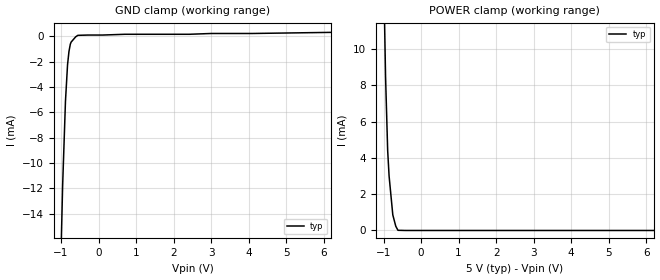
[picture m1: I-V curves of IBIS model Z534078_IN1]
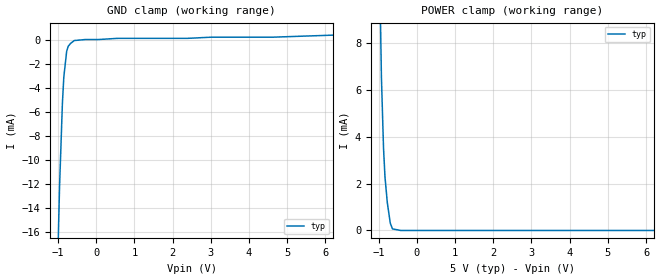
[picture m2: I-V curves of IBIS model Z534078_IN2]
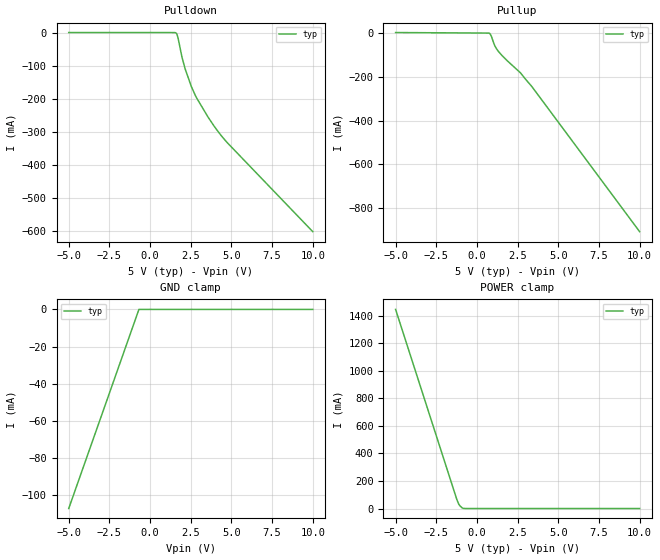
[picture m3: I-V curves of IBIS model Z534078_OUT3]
| YOU ARE ONLY AUTHORIZED TO USE THIS SOFTWARE
| ACCORDING TO LICENSOR'S LICENSE RESTRICTIONS.
[IBIS Ver] 3.1
[File Name] mc100lvel17dw_5_0.ibs
[File Rev] 2.0
[Source] Measured and created by ICX Technology
[Date] Friday 7/14/00 9:08:21 AM
[Copyright]
| (C) COPYRIGHT 1993-2000
| MENTOR GRAPHICS CORPORATION
| ICX STANDARD LIBRARY, ICX PROJECT MODELING,
| ICX CUSTOM MODELING, ICX VENDOR MODEL
| ALL RIGHTS RESERVED.
| THE FOLLOWING ARE TRADEMARKS OR SERVICE MARKS OF
| MENTOR GRAPHICS CORPORATION:ICX (R), ICX STANDARD
| LIBRARY(R), ICX PROJECT MODELING(R), ICX CUSTOM
| MODELING(R), qualityIBIS(TM), MODELVIEWER(TM),
| AND MODELEDITOR(TM)
| ALL COPIES OF SOFTWARE, INCLUDING BUT NOT LIMITED TO
| ANY MODIFICATIONS, ENHANCEMENTS OR DERIVATIVE WORKS,
| MUST CONTAIN ALL MENTOR GRAPHICS CORPORATION'S
| NOTICES AND LEGENDS, INCLUDING THOSE EMBEDDED IN
| SOFTWARE AND THOSE AFFIXED TO SOFTWARE MEDIUM
| AND CONTAINER, AS RECEIVED FROM MENTOR GRAPHICS
| CORPORATION.
|  ZAP Model Builder 2.7
[Component] MC100LVEL17DW_5_0
[Manufacturer] OnSemiconductor
[Package]
| variable   typ   min   max
R_pkg  .178ohms NA NA
L_pkg  4.43nH NA NA
C_pkg  .62pF NA NA
[Pin] signal_name  model_name  R_pin  L_pin C_pin
1 VCC POWER .186 5.37n .68p
2 D0 Z534078_IN1 .182 4.89n .65p
3 _D0 Z534078_IN2 .178 4.42n .62p
4 D1 Z534078_IN1 .174 3.96n .59p
5 _D1 Z534078_IN2 .17 3.51n .56p
6 D2 Z534078_IN1 .17 3.51n .56p
7 _D2 Z534078_IN2 .174 3.96n .59p
8 D3 Z534078_IN1 .178 4.42n .62p
9 _D3 Z534078_IN2 .182 4.89n .65p
10 VBB NC .186 5.37n .68p
11 VEE POWER .186 5.37n .68p
12 _Q3 Z534078_OUT3 .182 4.89n .65p
13 Q3 Z534078_OUT3 .178 4.42n .62p
14 _Q2 Z534078_OUT3 .174 3.96n .59p
15 Q2 Z534078_OUT3 .17 3.51n .56p
16 _Q1 Z534078_OUT3 .17 3.51n .56p
17 Q1 Z534078_OUT3 .174 3.96n .59p
18 _Q0 Z534078_OUT3 .178 4.42n .62p
19 Q0 Z534078_OUT3 .182 4.89n .65p
20 VCC POWER .186 5.37n .68p
| Models and submodels in the file (3): Z534078_IN1 (Input_ECL), Z534078_IN2 (Input_ECL), Z534078_OUT3 (Output_ECL)
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| (C) COPYRIGHT 1993-2000
| MENTOR GRAPHICS CORPORATION
| ICX STANDARD LIBRARY, ICX PROJECT MODELING,
| ICX CUSTOM MODELING, ICX VENDOR MODEL
| ALL RIGHTS RESERVED.
| THE FOLLOWING ARE TRADEMARKS OR SERVICE MARKS OF
| MENTOR GRAPHICS CORPORATION:ICX (R), ICX STANDARD
| LIBRARY(R), ICX PROJECT MODELING(R), ICX CUSTOM
| MODELING(R), qualityIBIS(TM), MODELVIEWER(TM),
| AND MODELEDITOR(TM)
| ALL COPIES OF SOFTWARE, INCLUDING BUT NOT LIMITED TO
| ANY MODIFICATIONS, ENHANCEMENTS OR DERIVATIVE WORKS,
| MUST CONTAIN ALL MENTOR GRAPHICS CORPORATION'S
| NOTICES AND LEGENDS, INCLUDING THOSE EMBEDDED IN
| SOFTWARE AND THOSE AFFIXED TO SOFTWARE MEDIUM
| AND CONTAINER, AS RECEIVED FROM MENTOR GRAPHICS
| CORPORATION.
| Model Application Version 1.89 2/18/99.
[Model] Z534078_IN1
Model_type Input_ECL
Vinl = 3.525V
Vinh = 3.835V
C_comp 4.000pF NA NA
| variable typ   min   max
[Voltage Range] 5.000V NA NA
[GND Clamp Reference] 0.000V NA NA
[POWER Clamp Reference] 5.000V NA NA
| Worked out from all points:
|   GND clamp passes 1 mA (typ) near -0.78 V on its own axis
|   POWER clamp passes 1 mA (typ) near -0.76 V on its own axis
[GND Clamp]
-5V       -857.4mA   NA         NA
-1.027V   -20.46mA   NA         NA
-957.7mV  -11.8mA    NA         NA
-881.9mV  -5.116mA   NA         NA
-826.2mV  -2.218mA   NA         NA
-787.8mV  -1.167mA   NA         NA
-751.8mV  -602.6uA   NA         NA
-731.4mV  -445.3uA   NA         NA
-609.3mV  -27.29uA   NA         NA
-551.5mV  89.6uA     NA         NA
10V       482.7uA    NA         NA
[POWER Clamp]
-5V       1.435A     NA         NA
-1.153V   40.97mA    NA         NA
-1.058V   21.14mA    NA         NA
-946mV    8.467mA    NA         NA
-890mV    4.412mA    NA         NA
-852mV    2.998mA    NA         NA
-753mV    857.2uA    NA         NA
-674mV    235.3uA    NA         NA
-616mV    10.41uA    NA         NA
-410.7mV  0A         NA         NA
10V       0A         NA         NA
| (C) COPYRIGHT 1993-2000
| MENTOR GRAPHICS CORPORATION
| ICX STANDARD LIBRARY, ICX PROJECT MODELING,
| ICX CUSTOM MODELING, ICX VENDOR MODEL
| ALL RIGHTS RESERVED.
| THE FOLLOWING ARE TRADEMARKS OR SERVICE MARKS OF
| MENTOR GRAPHICS CORPORATION:ICX (R), ICX STANDARD
| LIBRARY(R), ICX PROJECT MODELING(R), ICX CUSTOM
| MODELING(R), qualityIBIS(TM), MODELVIEWER(TM),
| AND MODELEDITOR(TM)
| ALL COPIES OF SOFTWARE, INCLUDING BUT NOT LIMITED TO
| ANY MODIFICATIONS, ENHANCEMENTS OR DERIVATIVE WORKS,
| MUST CONTAIN ALL MENTOR GRAPHICS CORPORATION'S
| NOTICES AND LEGENDS, INCLUDING THOSE EMBEDDED IN
| SOFTWARE AND THOSE AFFIXED TO SOFTWARE MEDIUM
| AND CONTAINER, AS RECEIVED FROM MENTOR GRAPHICS
| CORPORATION.
| Model Application Version 1.89 2/18/99.
[Model] Z534078_IN2
Model_type Input_ECL
Vinl = 3.525V
Vinh = 3.835V
C_comp 4.000pF NA NA
| variable typ   min   max
[Voltage Range] 5.000V NA NA
[GND Clamp Reference] 0.000V NA NA
[POWER Clamp Reference] 5.000V NA NA
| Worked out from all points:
|   GND clamp passes 1 mA (typ) near -0.77 V on its own axis
|   POWER clamp passes 1 mA (typ) near -0.75 V on its own axis
[GND Clamp]
-5V       -916.1mA   NA         NA
-1.026V   -21.18mA   NA         NA
-957.3mV  -12.24mA   NA         NA
-882.7mV  -5.302mA   NA         NA
-846.1mV  -3.119mA   NA         NA
-771.3mV  -963uA     NA         NA
-730.3mV  -545.6uA   NA         NA
-668.2mV  -304uA     NA         NA
-571.7mV  -66.54uA   NA         NA
567mV     114.8uA    NA         NA
4.601V    209.9uA    NA         NA
10V       791.1uA    NA         NA
[POWER Clamp]
-5V       1.675A     NA         NA
-1.171V   59.63mA    NA         NA
-1.082V   30.48mA    NA         NA
-1.001V   14.15mA    NA         NA
-925mV    6.577mA    NA         NA
-870mV    3.527mA    NA         NA
-832mV    2.3mA      NA         NA
-770mV    1.182mA    NA         NA
-693mV    310.7uA    NA         NA
-635mV    67.77uA    NA         NA
-423.3mV  0A         NA         NA
10V       0A         NA         NA
| (C) COPYRIGHT 1993-2000
| MENTOR GRAPHICS CORPORATION
| ICX STANDARD LIBRARY, ICX PROJECT MODELING,
| ICX CUSTOM MODELING, ICX VENDOR MODEL
| ALL RIGHTS RESERVED.
| THE FOLLOWING ARE TRADEMARKS OR SERVICE MARKS OF
| MENTOR GRAPHICS CORPORATION:ICX (R), ICX STANDARD
| LIBRARY(R), ICX PROJECT MODELING(R), ICX CUSTOM
| MODELING(R), qualityIBIS(TM), MODELVIEWER(TM),
| AND MODELEDITOR(TM)
| ALL COPIES OF SOFTWARE, INCLUDING BUT NOT LIMITED TO
| ANY MODIFICATIONS, ENHANCEMENTS OR DERIVATIVE WORKS,
| MUST CONTAIN ALL MENTOR GRAPHICS CORPORATION'S
| NOTICES AND LEGENDS, INCLUDING THOSE EMBEDDED IN
| SOFTWARE AND THOSE AFFIXED TO SOFTWARE MEDIUM
| AND CONTAINER, AS RECEIVED FROM MENTOR GRAPHICS
| CORPORATION.
| Model Application Version 1.89 2/18/99.
[Model] Z534078_OUT3
Model_type Output_ECL
Vref=0.000V
Rref=50.00ohms
Cref=0.000F
Vmeas=3.677V
C_comp 8.000pF NA NA
| variable typ   min   max
[Voltage Range] 5.000V NA NA
[POWER Clamp Reference] 5.000V NA NA
[Pullup Reference] 5.000V NA NA
[Pulldown Reference] 5.000V NA NA
[GND Clamp Reference] 0.000V NA NA
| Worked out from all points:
|   POWER clamp passes 1 mA (typ) near -0.84 V on its own axis
[GND Clamp]
-5V       -107.3mA   NA         NA
-685.2mV  0A         NA         NA
10V       0A         NA         NA
[Pulldown]
-5V       207.9uA    NA         NA
1.582V    -672.9uA   NA         NA
1.655V    -5.338mA   NA         NA
1.724V    -17.01mA   NA         NA
1.958V    -73.46mA   NA         NA
2.158V    -109.9mA   NA         NA
2.539V    -163mA     NA         NA
2.881V    -198.9mA   NA         NA
3.556V    -254.5mA   NA         NA
3.926V    -281.7mA   NA         NA
4.73V     -331.6mA   NA         NA
10V       -601.1mA   NA         NA
[Pullup]
-5V       2.372mA    NA         NA
800mV     -2.723mA   NA         NA
889mV     -14.78mA   NA         NA
1.099V    -57.76mA   NA         NA
1.328V    -84.67mA   NA         NA
1.881V    -127.7mA   NA         NA
2.681V    -182mA     NA         NA
3.373V    -244.1mA   NA         NA
10V       -906.8mA   NA         NA
[POWER Clamp]
-5V       1.446A     NA         NA
-1.24V    66.73mA    NA         NA
-1.118V   31.7mA     NA         NA
-1.035V   18.05mA    NA         NA
-908mV    4.743mA    NA         NA
-832mV    646.3uA    NA         NA
-624mV    0A         NA         NA
10V       0A         NA         NA
[Ramp]
| variable typ min max
dV/dt_r 489.5m/120.0p NA NA
dV/dt_f 489.5m/172.8p NA NA
R_load = 500.0Ohms
